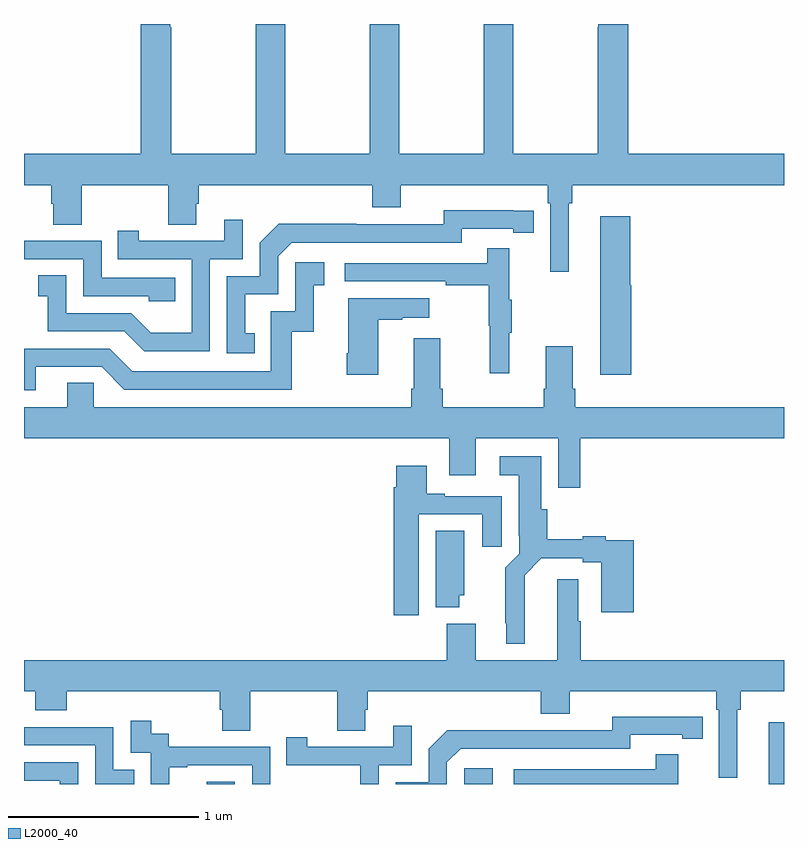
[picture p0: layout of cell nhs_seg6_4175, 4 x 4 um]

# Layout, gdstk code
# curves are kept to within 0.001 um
import gdstk
lib = gdstk.Library(unit=1e-6, precision=1e-09)
def R(c, l, rs):  # rectangles x0, y0, x1, y1
    for r in rs: c.add(gdstk.rectangle(r[:2], r[2:], *l))
def P(c, l, *ps):  # polygons
    for p in ps: c.add(gdstk.Polygon(p, *l))
L2000_40 = (2000, 40)

nhs_seg6_4175 = lib.new_cell('nhs_seg6_4175')
R(nhs_seg6_4175, L2000_40, [(357.963,961.5,358.11,961.513), (359.316,961.5,359.467,961.582), (360.92,961.5,361,961.825)])
P(nhs_seg6_4175, L2000_40, [(359.866,964.556),(359.885,964.556),(359.885,964.652),(361,964.652),(361,964.816),(360.179,964.816),(360.179,965.5),(360.023,965.5),(360.023,965.483),(360.019,965.483),(360.019,964.816),(359.574,964.816),(359.574,965.5),(359.419,965.5),(359.419,964.816),(358.974,964.816),(358.974,965.5),(358.819,965.5),(358.819,964.816),(358.374,964.816),(358.374,965.5),(358.219,965.5),(358.219,964.816),(357.774,964.816),(357.774,965.483),(357.769,965.483),(357.769,965.5),(357.614,965.5),(357.614,964.816),(357,964.816),(357,964.652),(357.143,964.652),(357.143,964.554),(357.155,964.554),(357.155,964.444),(357.303,964.444),(357.303,964.652),(357.76,964.652),(357.76,964.444),(357.907,964.444),(357.907,964.554),(357.92,964.554),(357.92,964.652),(358.832,964.652),(358.832,964.535),(358.984,964.535),(358.984,964.652),(359.756,964.652),(359.756,964.556),(359.769,964.556),(359.769,964.197),(359.866,964.197)],
  [(358.214,963.873),(358.165,963.873),(358.165,964.077),(358.338,964.077),(358.338,964.278),(358.41,964.35),(359.304,964.35),(359.304,964.422),(359.576,964.422),(359.576,964.402),(359.684,964.402),(359.684,964.518),(359.208,964.519),(359.208,964.446),(358.748,964.446),(358.748,964.448),(358.34,964.448),(358.242,964.35),(358.242,964.173),(358.068,964.173),(358.068,963.768),(358.214,963.768)],
  [(360.196,964.125),(360.191,964.125),(360.191,964.489),(360.032,964.489),(360.032,963.654),(360.196,963.654)],
  [(357.978,964.263),(358.152,964.263),(358.152,964.471),(358.055,964.471),(358.055,964.359),(357.604,964.359),(357.604,964.411),(357.493,964.411),(357.493,964.263),(357.882,964.263),(357.882,963.874),(357.668,963.874),(357.564,963.978),(357.222,963.978),(357.222,964.177),(357.075,964.177),(357.075,964.067),(357.124,964.067),(357.124,963.882),(357.527,963.882),(357.632,963.777),(357.978,963.777)],
  [(357.797,964.164),(357.408,964.164),(357.408,964.359),(357,964.359),(357,964.263),(357.312,964.263),(357.312,964.068),(357.657,964.068),(357.657,964.041),(357.797,964.041)],
  [(359.555,963.875),(359.566,963.875),(359.566,964.049),(359.555,964.049),(359.555,964.321),(359.437,964.321),(359.437,964.242),(358.689,964.242),(358.689,964.146),(359.221,964.146),(359.221,964.126),(359.445,964.126),(359.445,963.912),(359.452,963.912),(359.452,963.663),(359.555,963.663)],
  [(357.061,963.696),(357.408,963.696),(357.528,963.576),(358.408,963.576),(358.408,963.879),(358.526,963.879),(358.526,964.125),(358.579,964.125),(358.579,964.246),(358.428,964.246),(358.428,963.987),(358.299,963.987),(358.299,963.672),(357.57,963.672),(357.45,963.792),(357,963.792),(357,963.573),(357.061,963.573)],
  [(358.864,963.943),(358.991,963.943),(358.991,963.953),(359.134,963.953),(359.134,964.057),(358.706,964.057),(358.706,963.766),(358.699,963.766),(358.699,963.654),(358.864,963.654)],
  [(359.927,963.32),(361,963.32),(361,963.484),(359.9,963.484),(359.9,963.58),(359.887,963.58),(359.887,963.805),(359.747,963.805),(359.747,963.58),(359.735,963.58),(359.735,963.484),(359.204,963.484),(359.204,963.58),(359.191,963.58),(359.191,963.847),(359.051,963.847),(359.051,963.58),(359.039,963.58),(359.039,963.484),(357.366,963.484),(357.366,963.611),(357.227,963.611),(357.227,963.484),(357,963.484),(357,963.32),(359.237,963.32),(359.237,963.126),(359.377,963.126),(359.377,963.32),(359.811,963.32),(359.811,963.06),(359.927,963.06)],
  [(359.635,962.6),(359.722,962.688),(359.942,962.688),(359.942,962.668),(360.038,962.668),(360.038,962.403),(360.209,962.403),(360.209,962.784),(360.062,962.784),(360.062,962.804),(359.942,962.804),(359.942,962.789),(359.753,962.789),(359.753,962.946),(359.722,962.946),(359.722,963.226),(359.505,963.226),(359.505,963.125),(359.603,963.125),(359.603,962.806),(359.607,962.806),(359.607,962.712),(359.533,962.638),(359.533,962.347),(359.537,962.347),(359.537,962.237),(359.635,962.237)],
  [(359.077,962.919),(359.411,962.919),(359.411,962.748),(359.515,962.748),(359.515,963.015),(359.215,963.015),(359.215,963.028),(359.119,963.028),(359.119,963.175),(358.958,963.175),(358.958,963.062),(358.946,963.062),(358.946,962.388),(359.077,962.388)],
  [(359.29,962.493),(359.317,962.493),(359.317,962.834),(359.168,962.834),(359.168,962.429),(359.29,962.429)],
  [(360.754,961.892),(360.773,961.892),(360.773,961.988),(361,961.988),(361,962.152),(359.93,962.152),(359.93,962.357),(359.917,962.357),(359.917,962.578),(359.807,962.578),(359.807,962.152),(359.377,962.152),(359.377,962.344),(359.225,962.344),(359.225,962.152),(357,962.152),(357,961.988),(357.059,961.988),(357.059,961.889),(357.224,961.889),(357.224,961.988),(358.031,961.988),(358.031,961.89),(358.043,961.89),(358.043,961.78),(358.191,961.78),(358.191,961.988),(358.648,961.988),(358.648,961.78),(358.795,961.78),(358.795,961.89),(358.808,961.89),(358.808,961.988),(359.72,961.988),(359.72,961.871),(359.872,961.871),(359.872,961.988),(360.644,961.988),(360.644,961.892),(360.657,961.892),(360.657,961.533),(360.754,961.533)],
  [(359.226,961.614),(359.298,961.686),(360.192,961.686),(360.192,961.758),(360.464,961.758),(360.464,961.738),(360.572,961.738),(360.572,961.854),(360.096,961.855),(360.096,961.782),(359.636,961.782),(359.636,961.784),(359.228,961.784),(359.13,961.686),(359.13,961.509),(358.956,961.509),(358.956,961.5),(359.226,961.5)],
  [(357.764,961.587),(357.859,961.587),(357.859,961.599),(358.2,961.599),(358.2,961.5),(358.296,961.5),(358.296,961.695),(357.762,961.695),(357.762,961.764),(357.67,961.764),(357.67,961.834),(357.561,961.834),(357.561,961.665),(357.666,961.665),(357.666,961.5),(357.764,961.5)],
  [(358.866,961.599),(359.04,961.599),(359.04,961.807),(358.943,961.807),(358.943,961.695),(358.492,961.695),(358.492,961.747),(358.381,961.747),(358.381,961.599),(358.77,961.599),(358.77,961.5),(358.866,961.5)],
  [(357.581,961.575),(357.471,961.575),(357.471,961.8),(357,961.8),(357,961.704),(357.375,961.704),(357.375,961.5),(357.581,961.5)],
  [(360.443,961.657),(360.325,961.657),(360.325,961.578),(359.577,961.578),(359.577,961.5),(360.443,961.5)],
  [(357.285,961.614),(357,961.614),(357,961.518),(357.189,961.518),(357.189,961.5),(357.285,961.5)])

lib.write_gds('nhs_seg6_4175.gds')
